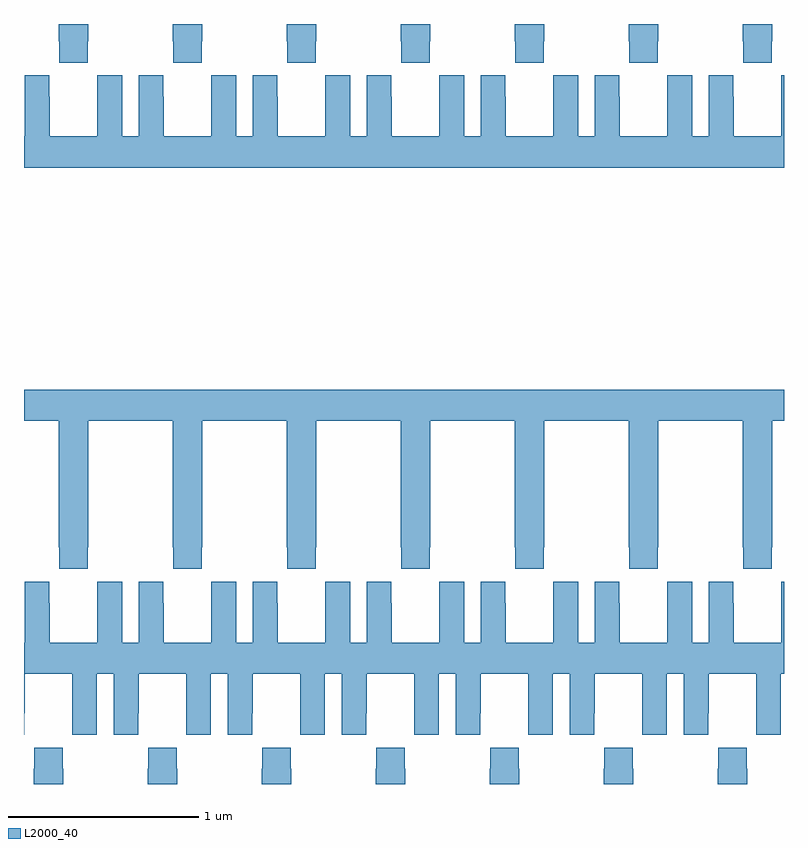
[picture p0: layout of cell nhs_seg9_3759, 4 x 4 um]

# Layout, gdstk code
import gdstk
lib = gdstk.Library(unit=1e-6, precision=1e-09)
def P(c, l, *ps):  # polygons
    for p in ps: c.add(gdstk.Polygon(p, *l))
L2000_40 = (2000, 40)

nhs_seg9_3759 = lib.new_cell('nhs_seg9_3759')
P(nhs_seg9_3759, L2000_40, [(325.935,1206.409),(325.938,1206.409),(325.938,1206.5),(325.783,1206.5),(325.783,1206.409),(325.785,1206.409),(325.785,1206.297),(325.935,1206.297)],
  [(326.535,1206.409),(326.538,1206.409),(326.538,1206.5),(326.383,1206.5),(326.383,1206.409),(326.385,1206.409),(326.385,1206.297),(326.535,1206.297)],
  [(327.135,1206.409),(327.138,1206.409),(327.138,1206.5),(326.983,1206.5),(326.983,1206.409),(326.985,1206.409),(326.985,1206.297),(327.135,1206.297)],
  [(327.735,1206.409),(327.738,1206.409),(327.738,1206.5),(327.583,1206.5),(327.583,1206.409),(327.585,1206.409),(327.585,1206.297),(327.735,1206.297)],
  [(328.335,1206.409),(328.338,1206.409),(328.338,1206.5),(328.183,1206.5),(328.183,1206.409),(328.185,1206.409),(328.185,1206.297),(328.335,1206.297)],
  [(328.935,1206.409),(328.938,1206.409),(328.938,1206.5),(328.783,1206.5),(328.783,1206.409),(328.785,1206.409),(328.785,1206.297),(328.935,1206.297)],
  [(325.335,1206.409),(325.338,1206.409),(325.338,1206.5),(325.183,1206.5),(325.183,1206.409),(325.185,1206.409),(325.185,1206.297),(325.335,1206.297)],
  [(329,1206.229),(328.986,1206.229),(328.986,1206.116),(328.985,1206.116),(328.985,1205.908),(328.735,1205.908),(328.735,1206.116),(328.734,1206.116),(328.734,1206.229),(328.604,1206.229),(328.604,1205.908),(328.516,1205.908),(328.516,1206.229),(328.386,1206.229),(328.386,1206.116),(328.385,1206.116),(328.385,1205.908),(328.135,1205.908),(328.135,1206.116),(328.134,1206.116),(328.134,1206.229),(328.004,1206.229),(328.004,1205.908),(327.916,1205.908),(327.916,1206.229),(327.786,1206.229),(327.786,1206.116),(327.785,1206.116),(327.785,1205.908),(327.535,1205.908),(327.535,1206.116),(327.534,1206.116),(327.534,1206.229),(327.404,1206.229),(327.404,1205.908),(327.316,1205.908),(327.316,1206.229),(327.186,1206.229),(327.186,1206.116),(327.185,1206.116),(327.185,1205.908),(326.935,1205.908),(326.935,1206.116),(326.934,1206.116),(326.934,1206.229),(326.804,1206.229),(326.804,1205.908),(326.716,1205.908),(326.716,1206.229),(326.586,1206.229),(326.586,1206.116),(326.585,1206.116),(326.585,1205.908),(326.335,1205.908),(326.335,1206.116),(326.334,1206.116),(326.334,1206.229),(326.204,1206.229),(326.204,1205.908),(326.116,1205.908),(326.116,1206.229),(325.986,1206.229),(325.986,1206.116),(325.985,1206.116),(325.985,1205.908),(325.735,1205.908),(325.735,1206.116),(325.734,1206.116),(325.734,1206.229),(325.604,1206.229),(325.604,1205.908),(325.516,1205.908),(325.516,1206.229),(325.386,1206.229),(325.386,1206.116),(325.385,1206.116),(325.385,1205.908),(325.135,1205.908),(325.135,1206.116),(325.134,1206.116),(325.134,1206.229),(325.004,1206.229),(325.004,1205.908),(325,1205.908),(325,1205.744),(329,1205.744)],
  [(325,1204.412),(325.183,1204.412),(325.183,1203.745),(325.185,1203.745),(325.185,1203.633),(325.335,1203.633),(325.335,1203.745),(325.338,1203.745),(325.338,1204.412),(325.783,1204.412),(325.783,1203.745),(325.785,1203.745),(325.785,1203.633),(325.935,1203.633),(325.935,1203.745),(325.938,1203.745),(325.938,1204.412),(326.383,1204.412),(326.383,1203.745),(326.385,1203.745),(326.385,1203.633),(326.535,1203.633),(326.535,1203.745),(326.538,1203.745),(326.538,1204.412),(326.983,1204.412),(326.983,1203.745),(326.985,1203.745),(326.985,1203.633),(327.135,1203.633),(327.135,1203.745),(327.138,1203.745),(327.138,1204.412),(327.583,1204.412),(327.583,1203.745),(327.585,1203.745),(327.585,1203.633),(327.735,1203.633),(327.735,1203.745),(327.738,1203.745),(327.738,1204.412),(328.183,1204.412),(328.183,1203.745),(328.185,1203.745),(328.185,1203.633),(328.335,1203.633),(328.335,1203.745),(328.338,1203.745),(328.338,1204.412),(328.783,1204.412),(328.783,1203.745),(328.785,1203.745),(328.785,1203.633),(328.935,1203.633),(328.935,1203.745),(328.938,1203.745),(328.938,1204.412),(329,1204.412),(329,1204.576),(325,1204.576)],
  [(327.402,1202.872),(327.403,1202.872),(327.403,1203.08),(327.653,1203.08),(327.653,1202.872),(327.654,1202.872),(327.654,1202.76),(327.784,1202.76),(327.784,1203.08),(327.872,1203.08),(327.872,1202.76),(328.002,1202.76),(328.002,1202.872),(328.003,1202.872),(328.003,1203.08),(328.253,1203.08),(328.253,1202.872),(328.254,1202.872),(328.254,1202.76),(328.384,1202.76),(328.384,1203.08),(328.472,1203.08),(328.472,1202.76),(328.602,1202.76),(328.602,1202.872),(328.603,1202.872),(328.603,1203.08),(328.853,1203.08),(328.853,1202.872),(328.854,1202.872),(328.854,1202.76),(328.984,1202.76),(328.984,1203.08),(329,1203.08),(329,1203.565),(328.986,1203.565),(328.986,1203.452),(328.985,1203.452),(328.985,1203.244),(328.735,1203.244),(328.735,1203.452),(328.734,1203.452),(328.734,1203.565),(328.604,1203.565),(328.604,1203.244),(328.516,1203.244),(328.516,1203.565),(328.386,1203.565),(328.386,1203.452),(328.385,1203.452),(328.385,1203.244),(328.135,1203.244),(328.135,1203.452),(328.134,1203.452),(328.134,1203.565),(328.004,1203.565),(328.004,1203.244),(327.916,1203.244),(327.916,1203.565),(327.786,1203.565),(327.786,1203.452),(327.785,1203.452),(327.785,1203.244),(327.535,1203.244),(327.535,1203.452),(327.534,1203.452),(327.534,1203.565),(327.404,1203.565),(327.404,1203.244),(327.316,1203.244),(327.316,1203.565),(327.186,1203.565),(327.186,1203.452),(327.185,1203.452),(327.185,1203.244),(326.935,1203.244),(326.935,1203.452),(326.934,1203.452),(326.934,1203.565),(326.804,1203.565),(326.804,1203.244),(326.716,1203.244),(326.716,1203.565),(326.586,1203.565),(326.586,1203.452),(326.585,1203.452),(326.585,1203.244),(326.335,1203.244),(326.335,1203.452),(326.334,1203.452),(326.334,1203.565),(326.204,1203.565),(326.204,1203.244),(326.116,1203.244),(326.116,1203.565),(325.986,1203.565),(325.986,1203.452),(325.985,1203.452),(325.985,1203.244),(325.735,1203.244),(325.735,1203.452),(325.734,1203.452),(325.734,1203.565),(325.604,1203.565),(325.604,1203.244),(325.516,1203.244),(325.516,1203.565),(325.386,1203.565),(325.386,1203.452),(325.385,1203.452),(325.385,1203.244),(325.135,1203.244),(325.135,1203.452),(325.134,1203.452),(325.134,1203.565),(325.004,1203.565),(325.004,1203.244),(325,1203.244),(325,1202.76),(325.002,1202.76),(325.002,1202.872),(325.003,1202.872),(325.003,1203.08),(325.253,1203.08),(325.253,1202.872),(325.254,1202.872),(325.254,1202.76),(325.384,1202.76),(325.384,1203.08),(325.472,1203.08),(325.472,1202.76),(325.602,1202.76),(325.602,1202.872),(325.603,1202.872),(325.603,1203.08),(325.853,1203.08),(325.853,1202.872),(325.854,1202.872),(325.854,1202.76),(325.984,1202.76),(325.984,1203.08),(326.072,1203.08),(326.072,1202.76),(326.202,1202.76),(326.202,1202.872),(326.203,1202.872),(326.203,1203.08),(326.453,1203.08),(326.453,1202.872),(326.454,1202.872),(326.454,1202.76),(326.584,1202.76),(326.584,1203.08),(326.672,1203.08),(326.672,1202.76),(326.802,1202.76),(326.802,1202.872),(326.803,1202.872),(326.803,1203.08),(327.053,1203.08),(327.053,1202.872),(327.054,1202.872),(327.054,1202.76),(327.184,1202.76),(327.184,1203.08),(327.272,1203.08),(327.272,1202.76),(327.402,1202.76)],
  [(325.206,1202.579),(325.203,1202.579),(325.203,1202.692),(325.053,1202.692),(325.053,1202.579),(325.051,1202.579),(325.051,1202.5),(325.206,1202.5)],
  [(325.806,1202.579),(325.803,1202.579),(325.803,1202.692),(325.653,1202.692),(325.653,1202.579),(325.651,1202.579),(325.651,1202.5),(325.806,1202.5)],
  [(326.406,1202.579),(326.403,1202.579),(326.403,1202.692),(326.253,1202.692),(326.253,1202.579),(326.251,1202.579),(326.251,1202.5),(326.406,1202.5)],
  [(327.006,1202.579),(327.003,1202.579),(327.003,1202.692),(326.853,1202.692),(326.853,1202.579),(326.851,1202.579),(326.851,1202.5),(327.006,1202.5)],
  [(327.606,1202.579),(327.603,1202.579),(327.603,1202.692),(327.453,1202.692),(327.453,1202.579),(327.451,1202.579),(327.451,1202.5),(327.606,1202.5)],
  [(328.206,1202.579),(328.203,1202.579),(328.203,1202.692),(328.053,1202.692),(328.053,1202.579),(328.051,1202.579),(328.051,1202.5),(328.206,1202.5)],
  [(328.806,1202.579),(328.803,1202.579),(328.803,1202.692),(328.653,1202.692),(328.653,1202.579),(328.651,1202.579),(328.651,1202.5),(328.806,1202.5)])

lib.write_gds('nhs_seg9_3759.gds')
